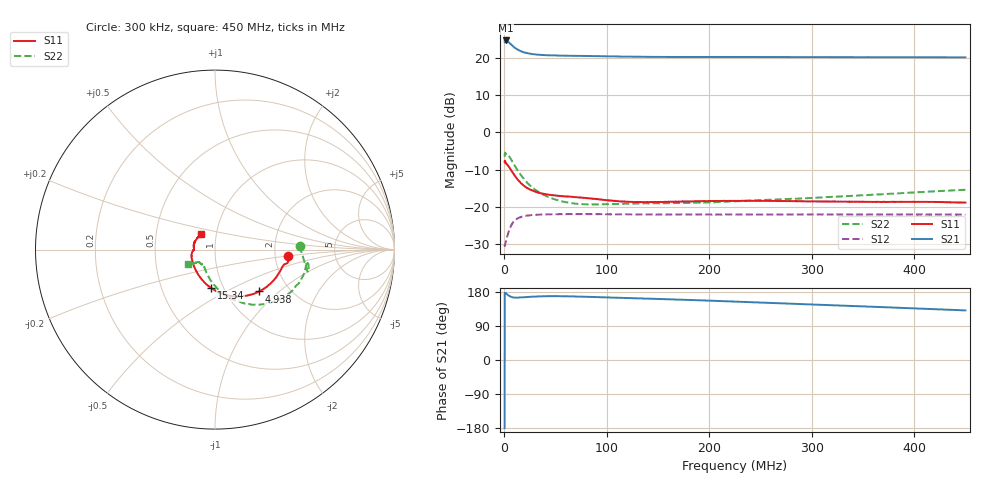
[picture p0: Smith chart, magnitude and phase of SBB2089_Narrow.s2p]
!Agilent Technologies,N5230A,US44240068,A.07.50.67
!Agilent N5230A: A.07.50.67
!Date: Wednesday, November 10, 2021 19:11:51
!Correction: S11(Full 2 Port(1,2))
!S21(Full 2 Port(1,2))
!S12(Full 2 Port(1,2))
!S22(Full 2 Port(1,2))
!S2P File: Measurements: S11, S21, S12, S22:
# Hz S  dB  R 50
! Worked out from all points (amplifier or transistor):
!   3201 points, 300 kHz to 450 MHz, reference 50 ohm
!   highest |S21| = 24.6 dB at 1.565 MHz (marker M1)
!   |S21| within 3 dB of that: start of sweep to 17.21 MHz
!   unconditionally stable (mu >= 1): start of sweep to 1.375 MHz; 84.83112 MHz to 85.14304 MHz; 85.3 MHz to end of sweep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
!   at 75.21 MHz: K = 1.00, MSG = 21.2 dB, |S12| = -21.9 dB
!   at 225.2 MHz: K = 1.01, MAG = 20.5 dB, |S12| = -21.9 dB
!   at 450 MHz: K = 1.01, MAG = 20.5 dB, |S12| = -22.0 dB
!   S11 on the Smith chart (normalised r, x): 300 kHz: 2.35, -0.19; 4.938 MHz: 1.42, -0.75; 15.34 MHz: 0.87, -0.39; 450 MHz: 0.85, +0.15
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300000  -7.84 -4.7  24.38 -179.8  -30.12 4.2  -6.52 2.4
1564866  -8.28 -15.7  24.61 176.4  -29.13 15.5  -5.75 -8.7
2689191  -8.59 -25.2  24.46 173.4  -28.03 21.5  -5.83 -16.9
3251353  -8.75 -30.1  24.37 172.1  -27.50 23.5  -5.95 -20.9
4937841  -9.39 -43.4  23.98 168.8  -26.01 25.5  -6.49 -32.3
6062166  -9.86 -51.3  23.67 167.3  -25.28 25.2  -6.98 -39.1
7186491  -10.34 -58.7  23.40 166.1  -24.63 24.1  -7.47 -45.0
8451356  -10.89 -66.1  23.06 165.3  -24.14 22.5  -8.07 -51.0
9997303  -11.51 -74.3  22.73 164.6  -23.62 20.9  -8.78 -57.5
1.238649e7  -12.35 -85.2  22.26 164.5  -23.11 18.1  -9.97 -65.3
1.533785e7  -13.35 -95.9  21.84 164.8  -22.72 15.0  -11.11 -73.7
1.842974e7  -14.12 -105.2  21.50 165.4  -22.49 12.8  -12.24 -80.6
2.20838e7  -14.84 -114.3  21.22 166.2  -22.28 10.5  -13.39 -87.4
2.672164e7  -15.48 -123.6  20.99 167.0  -22.16 8.6  -14.60 -94.3
3.220272e7  -16.02 -132.1  20.82 167.8  -22.06 6.2  -15.71 -100.7
4.934868e7  -16.87 -150.5  20.58 168.5  -21.92 2.0  -17.95 -114.7
7.534869e7  -17.46 -167.2  20.47 167.2  -21.86 -2.0  -19.20 -125.2
1.502568e8  -18.66 176.8  20.21 161.1  -21.97 -8.8  -19.01 -139.9
2.25165e8  -18.33 165.4  20.19 154.1  -21.94 -14.3  -18.44 -144.1
3.002137e8  -18.46 154.0  20.16 146.5  -21.98 -19.7  -17.54 -145.7
3.751218e8  -18.61 142.2  20.13 138.9  -21.97 -25.0  -16.45 -148.7
4.5003e8  -18.80 131.0  20.09 130.9  -22.00 -30.1  -15.37 -152.0
